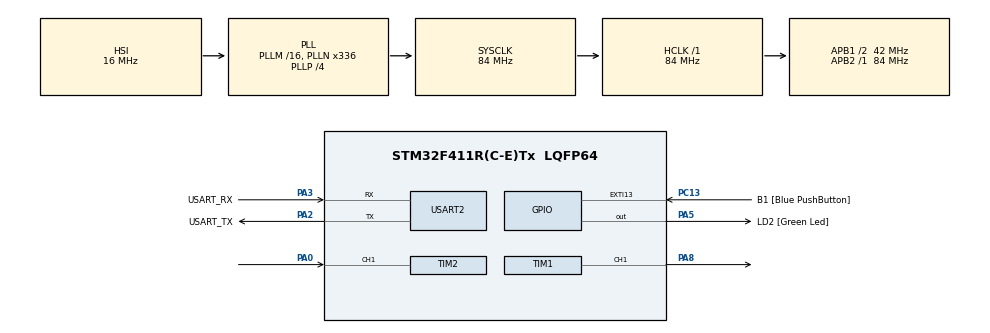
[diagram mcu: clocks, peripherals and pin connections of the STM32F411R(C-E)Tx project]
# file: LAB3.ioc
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Dma.Request0=TIM2_CH1
Dma.Request1=TIM1_CH1
Dma.TIM1_CH1.1.Direction=DMA_PERIPH_TO_MEMORY
Dma.TIM1_CH1.1.FIFOMode=DMA_FIFOMODE_DISABLE
Dma.TIM1_CH1.1.Instance=DMA2_Stream1
Dma.TIM1_CH1.1.MemDataAlignment=DMA_MDATAALIGN_HALFWORD
Dma.TIM1_CH1.1.MemInc=DMA_MINC_ENABLE
Dma.TIM1_CH1.1.Mode=DMA_CIRCULAR
Dma.TIM1_CH1.1.PeriphDataAlignment=DMA_PDATAALIGN_HALFWORD
Dma.TIM1_CH1.1.PeriphInc=DMA_PINC_DISABLE
Dma.TIM1_CH1.1.Priority=DMA_PRIORITY_LOW
Dma.TIM2_CH1.0.Direction=DMA_PERIPH_TO_MEMORY
Dma.TIM2_CH1.0.FIFOMode=DMA_FIFOMODE_DISABLE
Dma.TIM2_CH1.0.Instance=DMA1_Stream5
Dma.TIM2_CH1.0.MemDataAlignment=DMA_MDATAALIGN_WORD
Dma.TIM2_CH1.0.MemInc=DMA_MINC_ENABLE
Dma.TIM2_CH1.0.Mode=DMA_CIRCULAR
Dma.TIM2_CH1.0.PeriphDataAlignment=DMA_PDATAALIGN_WORD
Dma.TIM2_CH1.0.PeriphInc=DMA_PINC_DISABLE
Dma.TIM2_CH1.0.Priority=DMA_PRIORITY_LOW
Mcu.Family=STM32F4
Mcu.Name=STM32F411R(C-E)Tx
Mcu.Package=LQFP64
NVIC.DMA1_Stream5_IRQn=true\:0\:0\:false\:false\:true\:false\:true\:true
NVIC.DMA2_Stream1_IRQn=true\:0\:0\:false\:false\:true\:false\:true\:true
NVIC.PriorityGroup=NVIC_PRIORITYGROUP_0
PA0-WKUP.Signal=S_TIM2_CH1_ETR
PA13.GPIO_Label=TMS
PA13.Mode=Serial_Wire
PA13.Signal=SYS_JTMS-SWDIO
PA14.GPIO_Label=TCK
PA14.Mode=Serial_Wire
PA14.Signal=SYS_JTCK-SWCLK
PA2.GPIO_Label=USART_TX
PA2.Mode=Asynchronous
PA2.Signal=USART2_TX
PA3.GPIO_Label=USART_RX
PA3.Mode=Asynchronous
PA3.Signal=USART2_RX
PA5.GPIO_Label=LD2 [Green Led]
PA5.Signal=GPIO_Output
PA8.Signal=S_TIM1_CH1
PB3.GPIO_Label=SWO
PB3.Signal=SYS_JTDO-SWO
PC13-ANTI_TAMP.GPIO_Label=B1 [Blue PushButton]
PC13-ANTI_TAMP.GPIO_ModeDefaultEXTI=GPIO_MODE_IT_FALLING
PC13-ANTI_TAMP.Signal=GPXTI13
PC14-OSC32_IN.Mode=LSE-External-Oscillator
PC14-OSC32_IN.Signal=RCC_OSC32_IN
PC15-OSC32_OUT.Mode=LSE-External-Oscillator
PC15-OSC32_OUT.Signal=RCC_OSC32_OUT
PH0\ -\ OSC_IN.Mode=HSE-External-Clock-Source
PH0\ -\ OSC_IN.Signal=RCC_OSC_IN
PH1\ -\ OSC_OUT.Mode=HSE-External-Clock-Source
PH1\ -\ OSC_OUT.Signal=RCC_OSC_OUT
ProjectManager.HeapSize=0x200
ProjectManager.StackSize=0x400
ProjectManager.TargetToolchain=STM32CubeIDE
RCC.48MHZClocksFreq_Value=84000000
RCC.AHBFreq_Value=84000000
RCC.APB1CLKDivider=RCC_HCLK_DIV2
RCC.APB1Freq_Value=42000000
RCC.APB1TimFreq_Value=84000000
RCC.APB2Freq_Value=84000000
RCC.APB2TimFreq_Value=84000000
RCC.CortexFreq_Value=84000000
RCC.FLatency-AdvancedSettings=FLASH_LATENCY_2
RCC.HCLKFreq_Value=84000000
RCC.HSE_VALUE=8000000
RCC.HSI_VALUE=16000000
RCC.PLLN=336
RCC.PLLP=RCC_PLLP_DIV4
RCC.SYSCLKFreq_VALUE=84000000
RCC.SYSCLKSource=RCC_SYSCLKSOURCE_PLLCLK
RCC.VCOOutputFreq_Value=336000000
SH.S_TIM1_CH1.0=TIM1_CH1,PWM Generation1 CH1
SH.S_TIM2_CH1_ETR.0=TIM2_CH1,Input_Capture1_from_TI1
TIM1.Channel-PWM\ Generation1\ CH1=TIM_CHANNEL_1
TIM1.Period=999
TIM1.Prescaler=83
TIM1.Pulse-PWM\ Generation1\ CH1=500
TIM2.Channel-Input_Capture1_from_TI1=TIM_CHANNEL_1
TIM2.Prescaler=83
USART2.VirtualMode=VM_ASYNC
VP_TIM1_VS_ClockSourceINT.Mode=Internal
board=NUCLEO-F411RE

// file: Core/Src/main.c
/* USER CODE BEGIN Header */
/**
 ******************************************************************************
 * @file           : main.c
 * @brief          : Main program body
 ******************************************************************************
 * @attention
 *
 * Copyright (c) 2023 STMicroelectronics.
 * All rights reserved.
 *
 * This software is licensed under terms that can be found in the LICENSE file
 * in the root directory of this software component.
 * If no LICENSE file comes with this software, it is provided AS-IS.
 *
 ******************************************************************************
 */
/* USER CODE END Header */
#include "main.h"

/* USER CODE BEGIN Includes */
//lalida 47
#define IC_BUFFER_SIZE 20
/* USER CODE END Includes */

TIM_HandleTypeDef htim1;
TIM_HandleTypeDef htim2;
DMA_HandleTypeDef hdma_tim1_ch1;
DMA_HandleTypeDef hdma_tim2_ch1;

UART_HandleTypeDef huart2;

/* USER CODE BEGIN PV */
uint32_t Times = 100;

uint32_t MotorReadRPM = 0; // real rpm
uint32_t MotorControlEnable = 0;
uint32_t MotorSetRPM = 20;
uint32_t MotorSetDuty = 100;

uint32_t InputCaptureBuffer[IC_BUFFER_SIZE];
uint32_t duty = 500;
float averageRisingedgePeriod;
/* USER CODE END PV */

void SystemClock_Config(void);
static void MX_GPIO_Init(void);
static void MX_DMA_Init(void);
static void MX_USART2_UART_Init(void);
static void MX_TIM2_Init(void);
static void MX_TIM1_Init(void);
/* USER CODE BEGIN PFP */
float IC_Calc_Period();
/* USER CODE END PFP */

int main(void)
{

  /* MCU Configuration--------------------------------------------------------*/

  /* Reset of all peripherals, Initializes the Flash interface and the Systick. */
  HAL_Init();

  /* Configure the system clock */
  SystemClock_Config();

  /* Initialize all configured peripherals */
  MX_GPIO_Init();
  MX_DMA_Init();
  MX_USART2_UART_Init();
  MX_TIM2_Init();
  MX_TIM1_Init();
  /* USER CODE BEGIN 2 */
	HAL_TIM_Base_Start(&htim2);
	HAL_TIM_IC_Start_DMA(&htim2, TIM_CHANNEL_1, InputCaptureBuffer,
			IC_BUFFER_SIZE);

	HAL_TIM_Base_Start(&htim1); // Timer start
	HAL_TIM_PWM_Start(&htim1, TIM_CHANNEL_1);
  /* USER CODE END 2 */

  /* Infinite loop */
	while (1) {

    /* USER CODE BEGIN 3 */
		static uint32_t timestamp = 0;
		if (HAL_GetTick() >= timestamp) {
			timestamp = HAL_GetTick() + 500;
			averageRisingedgePeriod = IC_Calc_Period();
			__HAL_TIM_SET_COMPARE(&htim1, TIM_CHANNEL_1, duty); // compare between PWM and duty

			MotorReadRPM = 60* (1 / (averageRisingedgePeriod * 12 * 64 * 0.000001));
		}

		if (MotorControlEnable == 0) {
			duty = (MotorSetDuty * 10)-1;
			__HAL_TIM_SET_COMPARE(&htim1, TIM_CHANNEL_1, duty);
		}
		else if (MotorControlEnable == 1) {
			if (MotorReadRPM < MotorSetRPM) {
				if (HAL_GetTick() >= Times) {
					duty += 3;
					__HAL_TIM_SET_COMPARE(&htim1, TIM_CHANNEL_1, duty);
					Times += 100;
				}
			} else if (MotorReadRPM > MotorSetRPM) {
				if (HAL_GetTick() >= Times) {
					duty -= 3;
					__HAL_TIM_SET_COMPARE(&htim1, TIM_CHANNEL_1, duty);
					Times += 100;
				}
			}
		}

	}
  /* USER CODE END 3 */
}

void SystemClock_Config(void)
{
  RCC_OscInitTypeDef RCC_OscInitStruct = {0};
  RCC_ClkInitTypeDef RCC_ClkInitStruct = {0};

  /** Configure the main internal regulator output voltage
  */
  __HAL_RCC_PWR_CLK_ENABLE();
  __HAL_PWR_VOLTAGESCALING_CONFIG(PWR_REGULATOR_VOLTAGE_SCALE1);

  /** Initializes the RCC Oscillators according to the specified parameters
  * in the RCC_OscInitTypeDef structure.
  */
  RCC_OscInitStruct.OscillatorType = RCC_OSCILLATORTYPE_HSI;
  RCC_OscInitStruct.HSIState = RCC_HSI_ON;
  RCC_OscInitStruct.HSICalibrationValue = RCC_HSICALIBRATION_DEFAULT;
  RCC_OscInitStruct.PLL.PLLState = RCC_PLL_ON;
  RCC_OscInitStruct.PLL.PLLSource = RCC_PLLSOURCE_HSI;
  RCC_OscInitStruct.PLL.PLLM = 16;
  RCC_OscInitStruct.PLL.PLLN = 336;
  RCC_OscInitStruct.PLL.PLLP = RCC_PLLP_DIV4;
  RCC_OscInitStruct.PLL.PLLQ = 4;
  if (HAL_RCC_OscConfig(&RCC_OscInitStruct) != HAL_OK)
  {
    Error_Handler();
  }

  /** Initializes the CPU, AHB and APB buses clocks
  */
  RCC_ClkInitStruct.ClockType = RCC_CLOCKTYPE_HCLK|RCC_CLOCKTYPE_SYSCLK
                              |RCC_CLOCKTYPE_PCLK1|RCC_CLOCKTYPE_PCLK2;
  RCC_ClkInitStruct.SYSCLKSource = RCC_SYSCLKSOURCE_PLLCLK;
  RCC_ClkInitStruct.AHBCLKDivider = RCC_SYSCLK_DIV1;
  RCC_ClkInitStruct.APB1CLKDivider = RCC_HCLK_DIV2;
  RCC_ClkInitStruct.APB2CLKDivider = RCC_HCLK_DIV1;

  if (HAL_RCC_ClockConfig(&RCC_ClkInitStruct, FLASH_LATENCY_2) != HAL_OK)
  {
    Error_Handler();
  }
}

static void MX_TIM1_Init(void)
{

  TIM_ClockConfigTypeDef sClockSourceConfig = {0};
  TIM_MasterConfigTypeDef sMasterConfig = {0};
  TIM_OC_InitTypeDef sConfigOC = {0};
  TIM_BreakDeadTimeConfigTypeDef sBreakDeadTimeConfig = {0};

  htim1.Instance = TIM1;
  htim1.Init.Prescaler = 83;
  htim1.Init.CounterMode = TIM_COUNTERMODE_UP;
  htim1.Init.Period = 999;
  htim1.Init.ClockDivision = TIM_CLOCKDIVISION_DIV1;
  htim1.Init.RepetitionCounter = 0;
  htim1.Init.AutoReloadPreload = TIM_AUTORELOAD_PRELOAD_DISABLE;
  if (HAL_TIM_Base_Init(&htim1) != HAL_OK)
  {
    Error_Handler();
  }
  sClockSourceConfig.ClockSource = TIM_CLOCKSOURCE_INTERNAL;
  if (HAL_TIM_ConfigClockSource(&htim1, &sClockSourceConfig) != HAL_OK)
  {
    Error_Handler();
  }
  if (HAL_TIM_PWM_Init(&htim1) != HAL_OK)
  {
    Error_Handler();
  }
  sMasterConfig.MasterOutputTrigger = TIM_TRGO_RESET;
  sMasterConfig.MasterSlaveMode = TIM_MASTERSLAVEMODE_DISABLE;
  if (HAL_TIMEx_MasterConfigSynchronization(&htim1, &sMasterConfig) != HAL_OK)
  {
    Error_Handler();
  }
  sConfigOC.OCMode = TIM_OCMODE_PWM1;
  sConfigOC.Pulse = 500;
  sConfigOC.OCPolarity = TIM_OCPOLARITY_HIGH;
  sConfigOC.OCNPolarity = TIM_OCNPOLARITY_HIGH;
  sConfigOC.OCFastMode = TIM_OCFAST_DISABLE;
  sConfigOC.OCIdleState = TIM_OCIDLESTATE_RESET;
  sConfigOC.OCNIdleState = TIM_OCNIDLESTATE_RESET;
  if (HAL_TIM_PWM_ConfigChannel(&htim1, &sConfigOC, TIM_CHANNEL_1) != HAL_OK)
  {
    Error_Handler();
  }
  sBreakDeadTimeConfig.OffStateRunMode = TIM_OSSR_DISABLE;
  sBreakDeadTimeConfig.OffStateIDLEMode = TIM_OSSI_DISABLE;
  sBreakDeadTimeConfig.LockLevel = TIM_LOCKLEVEL_OFF;
  sBreakDeadTimeConfig.DeadTime = 0;
  sBreakDeadTimeConfig.BreakState = TIM_BREAK_DISABLE;
  sBreakDeadTimeConfig.BreakPolarity = TIM_BREAKPOLARITY_HIGH;
  sBreakDeadTimeConfig.AutomaticOutput = TIM_AUTOMATICOUTPUT_DISABLE;
  if (HAL_TIMEx_ConfigBreakDeadTime(&htim1, &sBreakDeadTimeConfig) != HAL_OK)
  {
    Error_Handler();
  }
  HAL_TIM_MspPostInit(&htim1);

}

static void MX_TIM2_Init(void)
{

  TIM_MasterConfigTypeDef sMasterConfig = {0};
  TIM_IC_InitTypeDef sConfigIC = {0};

  htim2.Instance = TIM2;
  htim2.Init.Prescaler = 83;
  htim2.Init.CounterMode = TIM_COUNTERMODE_UP;
  htim2.Init.Period = 4294967295;
  htim2.Init.ClockDivision = TIM_CLOCKDIVISION_DIV1;
  htim2.Init.AutoReloadPreload = TIM_AUTORELOAD_PRELOAD_DISABLE;
  if (HAL_TIM_IC_Init(&htim2) != HAL_OK)
  {
    Error_Handler();
  }
  sMasterConfig.MasterOutputTrigger = TIM_TRGO_RESET;
  sMasterConfig.MasterSlaveMode = TIM_MASTERSLAVEMODE_DISABLE;
  if (HAL_TIMEx_MasterConfigSynchronization(&htim2, &sMasterConfig) != HAL_OK)
  {
    Error_Handler();
  }
  sConfigIC.ICPolarity = TIM_INPUTCHANNELPOLARITY_RISING;
  sConfigIC.ICSelection = TIM_ICSELECTION_DIRECTTI;
  sConfigIC.ICPrescaler = TIM_ICPSC_DIV1;
  sConfigIC.ICFilter = 0;
  if (HAL_TIM_IC_ConfigChannel(&htim2, &sConfigIC, TIM_CHANNEL_1) != HAL_OK)
  {
    Error_Handler();
  }

}

static void MX_USART2_UART_Init(void)
{

  huart2.Instance = USART2;
  huart2.Init.BaudRate = 115200;
  huart2.Init.WordLength = UART_WORDLENGTH_8B;
  huart2.Init.StopBits = UART_STOPBITS_1;
  huart2.Init.Parity = UART_PARITY_NONE;
  huart2.Init.Mode = UART_MODE_TX_RX;
  huart2.Init.HwFlowCtl = UART_HWCONTROL_NONE;
  huart2.Init.OverSampling = UART_OVERSAMPLING_16;
  if (HAL_UART_Init(&huart2) != HAL_OK)
  {
    Error_Handler();
  }

}

static void MX_DMA_Init(void)
{

  /* DMA controller clock enable */
  __HAL_RCC_DMA1_CLK_ENABLE();
  __HAL_RCC_DMA2_CLK_ENABLE();

  /* DMA interrupt init */
  /* DMA1_Stream5_IRQn interrupt configuration */
  HAL_NVIC_SetPriority(DMA1_Stream5_IRQn, 0, 0);
  HAL_NVIC_EnableIRQ(DMA1_Stream5_IRQn);
  /* DMA2_Stream1_IRQn interrupt configuration */
  HAL_NVIC_SetPriority(DMA2_Stream1_IRQn, 0, 0);
  HAL_NVIC_EnableIRQ(DMA2_Stream1_IRQn);

}

static void MX_GPIO_Init(void)
{
  GPIO_InitTypeDef GPIO_InitStruct = {0};

  /* GPIO Ports Clock Enable */
  __HAL_RCC_GPIOC_CLK_ENABLE();
  __HAL_RCC_GPIOH_CLK_ENABLE();
  __HAL_RCC_GPIOA_CLK_ENABLE();
  __HAL_RCC_GPIOB_CLK_ENABLE();

  /*Configure GPIO pin Output Level */
  HAL_GPIO_WritePin(LD2_GPIO_Port, LD2_Pin, GPIO_PIN_RESET);

  /*Configure GPIO pin : B1_Pin */
  GPIO_InitStruct.Pin = B1_Pin;
  GPIO_InitStruct.Mode = GPIO_MODE_IT_FALLING;
  GPIO_InitStruct.Pull = GPIO_NOPULL;
  HAL_GPIO_Init(B1_GPIO_Port, &GPIO_InitStruct);

  /*Configure GPIO pin : LD2_Pin */
  GPIO_InitStruct.Pin = LD2_Pin;
  GPIO_InitStruct.Mode = GPIO_MODE_OUTPUT_PP;
  GPIO_InitStruct.Pull = GPIO_NOPULL;
  GPIO_InitStruct.Speed = GPIO_SPEED_FREQ_LOW;
  HAL_GPIO_Init(LD2_GPIO_Port, &GPIO_InitStruct);

}

/* USER CODE BEGIN 4 */
float IC_Calc_Period() {
	uint32_t currentDMAPointer = IC_BUFFER_SIZE - __HAL_DMA_GET_COUNTER((htim2.hdma[1]));
	uint32_t lastValidDMAPointer = (currentDMAPointer - 1 + IC_BUFFER_SIZE)% IC_BUFFER_SIZE;
	uint32_t i = (lastValidDMAPointer + IC_BUFFER_SIZE - 5) % IC_BUFFER_SIZE;
	int32_t sumdiff = 0;
	while (i != lastValidDMAPointer) {
		uint32_t firstCapture = InputCaptureBuffer[i];
		uint32_t NextCapture = InputCaptureBuffer[(i + 1) % IC_BUFFER_SIZE];
		sumdiff += NextCapture - firstCapture;
		i = (i + 1) % IC_BUFFER_SIZE;
	}
	return sumdiff / 5.0;
}
/* USER CODE END 4 */

void Error_Handler(void)
{
	__disable_irq();
	while (1) {
	}
}
